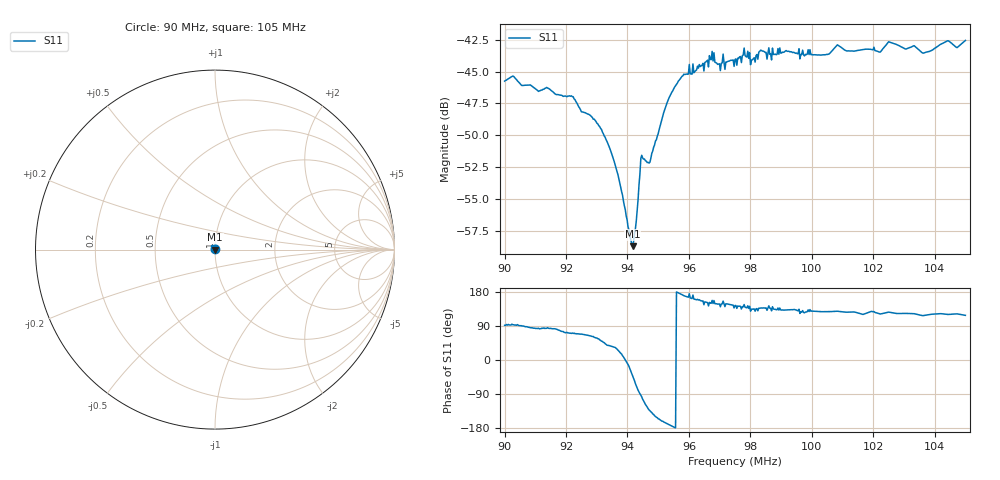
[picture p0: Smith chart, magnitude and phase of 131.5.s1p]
# HZ S RI R 50
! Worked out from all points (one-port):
!   505 points, 90 MHz to 105 MHz, reference 50 ohm
!   lowest |S11| = -58.7 dB at 94.17 MHz (marker M1), VSWR 1.00, Z = 50.1 - j0.0785 ohm
!   |S11| at or under -10 dB: start of sweep to end of sweep
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9e7  -0.000146 0.00516
9.026786e7  -0.000285 0.00539
9.187501e7  0.00116 0.00438
9.223215e7  0.00153 0.00421
9.309525e7  0.00206 0.00274
9.348215e7  0.00216 0.00159
9.375001e7  0.00192 0.000727
9.407739e7  0.00117 -0.000498
9.416668e7  0.000859 -0.000784
9.425597e7  0.000641 -0.00119
9.440478e7  3.65e-05 -0.00223
9.44643e7  -0.000345 -0.00262
9.473216e7  -0.00173 -0.00179
9.526787e7  -0.00407 -0.000916
9.562502e7  -0.00507 0.000136
9.675597e7  -0.00622 0.0026
9.696431e7  -0.00508 0.00321
9.750002e7  -0.00506 0.00371
9.785717e7  -0.00481 0.00427
9.80655e7  -0.00435 0.00449
9.836312e7  -0.00501 0.00461
9.937503e7  -0.00452 0.00491
1.0125e8  -0.00403 0.00544
1.022024e8  -0.00353 0.0057
1.025298e8  -0.00431 0.00594
1.03125e8  -0.00376 0.00583
1.036608e8  -0.00309 0.0059
1.05e8  -0.00348 0.00658
